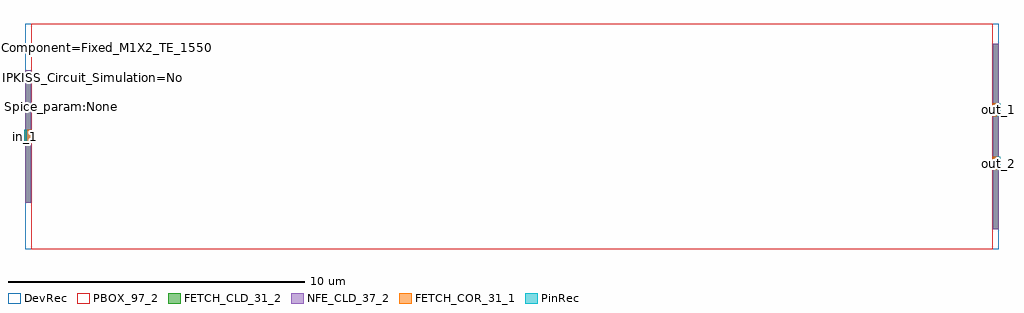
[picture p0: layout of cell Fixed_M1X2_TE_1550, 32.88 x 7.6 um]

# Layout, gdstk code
import gdstk
lib = gdstk.Library(unit=1e-6, precision=1e-09)
def R(c, l, rs):  # rectangles x0, y0, x1, y1
    for r in rs: c.add(gdstk.rectangle(r[:2], r[2:], *l))
FETCH_COR_31_1 = (31, 1)
FETCH_CLD_31_2 = (31, 2)
NFE_CLD_37_2 = (37, 2)
PinRec = (95, 0)
PBOX_97_2 = (97, 2)
DevRec = (1001, 0)

fixed_m1x2_te_1550 = lib.new_cell('Fixed_M1X2_TE_1550')
R(fixed_m1x2_te_1550, FETCH_COR_31_1, [(32.58,-1.125,32.78,-0.675), (0,-0.225,0.2,0.225), (32.58,0.675,32.78,1.125)])
R(fixed_m1x2_te_1550, FETCH_CLD_31_2, [(32.58,-3.125,32.78,1.325), (0,-2.225,0.2,2.225), (32.58,-1.325,32.78,3.125)])
R(fixed_m1x2_te_1550, NFE_CLD_37_2, [(32.58,-3.125,32.78,1.325), (0,-2.225,0.2,2.225), (32.58,-1.325,32.78,3.125)])
R(fixed_m1x2_te_1550, PBOX_97_2, [(0.2,-3.8,32.58,3.8)])
R(fixed_m1x2_te_1550, DevRec, [(0,-3.8,32.78,3.8)])
fixed_m1x2_te_1550.add(gdstk.FlexPath([(0.05,0),(-0.05,0)], 0.45, ends="flush", simple_path=True, layer=95, datatype=0))  # PinRec
fixed_m1x2_te_1550.add(gdstk.FlexPath([(32.73,0.9),(32.83,0.9)], 0.45, ends="flush", simple_path=True, layer=95, datatype=0))  # PinRec
fixed_m1x2_te_1550.add(gdstk.FlexPath([(32.73,-0.9),(32.83,-0.9)], 0.45, ends="flush", simple_path=True, layer=95, datatype=0))  # PinRec
fixed_m1x2_te_1550.add(gdstk.Label('out_1', (32.78,0.9), layer=95, texttype=0))
fixed_m1x2_te_1550.add(gdstk.Label('out_2', (32.78,-0.9), layer=95, texttype=0))
fixed_m1x2_te_1550.add(gdstk.Label('in_1', (0,0), layer=95, texttype=0))
fixed_m1x2_te_1550.add(gdstk.Label('Version:CSiP130N_1.0.0', (1.2,0), layer=1001, texttype=0))
fixed_m1x2_te_1550.add(gdstk.Label('IPKISS_Circuit_Simulation=None', (1.2,2), layer=1001, texttype=0))
fixed_m1x2_te_1550.add(gdstk.Label('Component=Fixed_M1X2_TE_1550', (1.2,3), layer=1001, texttype=0))
fixed_m1x2_te_1550.add(gdstk.Label('Spice_param:None', (1.2,1), layer=1001, texttype=0))

lib.write_gds('Fixed_M1X2_TE_1550.gds')
